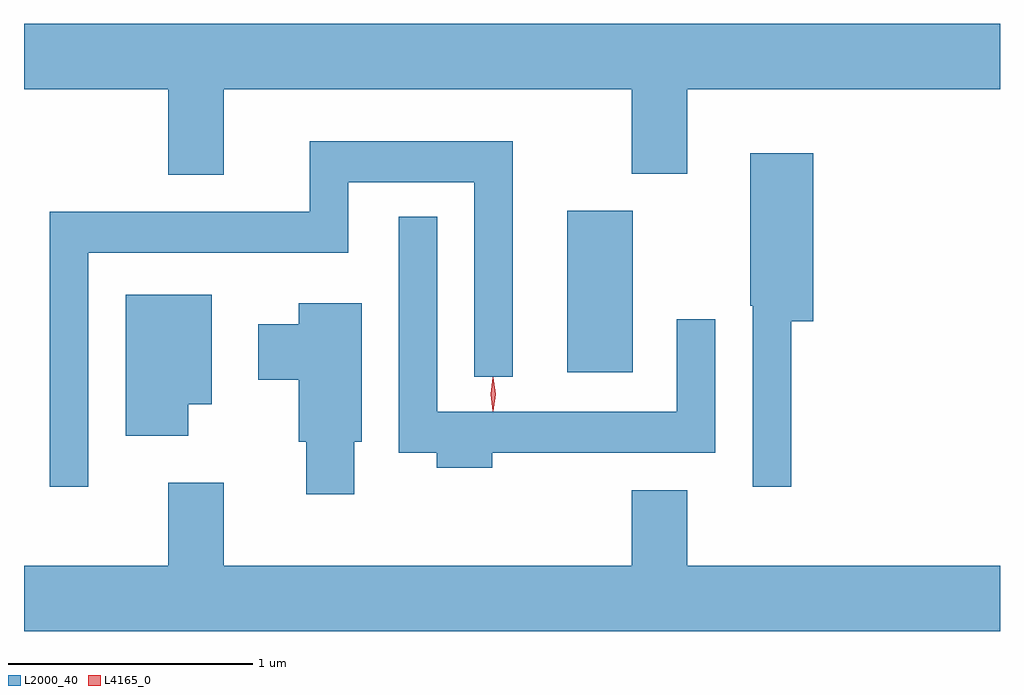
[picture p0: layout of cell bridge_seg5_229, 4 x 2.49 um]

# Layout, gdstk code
import gdstk
lib = gdstk.Library(unit=1e-6, precision=1e-09)
def R(c, l, rs):  # rectangles x0, y0, x1, y1
    for r in rs: c.add(gdstk.rectangle(r[:2], r[2:], *l))
def P(c, l, *ps):  # polygons
    for p in ps: c.add(gdstk.Polygon(p, *l))
L2000_40 = (2000, 40)
L4165_0 = (4165, 0)

bridge_seg5_229 = lib.new_cell('bridge_seg5_229')
R(bridge_seg5_229, L2000_40, [(1250.146,1415.676,1250.414,1416.339)])
P(bridge_seg5_229, L2000_40, [(1248.739,1416.836),(1250.411,1416.836),(1250.411,1416.491),(1250.639,1416.491),(1250.639,1416.836),(1251.92,1416.836),(1251.92,1417.104),(1247.92,1417.104),(1247.92,1416.836),(1248.511,1416.836),(1248.511,1416.486),(1248.739,1416.486)],
  [(1248.184,1416.166),(1249.249,1416.166),(1249.249,1416.456),(1249.766,1416.456),(1249.766,1415.658),(1249.924,1415.658),(1249.924,1416.624),(1249.091,1416.624),(1249.091,1416.334),(1248.026,1416.334),(1248.026,1415.208),(1248.184,1415.208)],
  [(1251.064,1415.886),(1251.154,1415.886),(1251.154,1416.574),(1250.896,1416.574),(1250.896,1415.95),(1250.906,1415.95),(1250.906,1415.208),(1251.064,1415.208)],
  [(1249.839,1415.346),(1250.754,1415.346),(1250.754,1415.893),(1250.596,1415.893),(1250.596,1415.514),(1249.614,1415.514),(1249.614,1416.313),(1249.456,1416.313),(1249.456,1415.346),(1249.611,1415.346),(1249.611,1415.286),(1249.839,1415.286)],
  [(1248.594,1415.546),(1248.689,1415.546),(1248.689,1415.994),(1248.336,1415.994),(1248.336,1415.416),(1248.594,1415.416)],
  [(1249.274,1415.391),(1249.304,1415.391),(1249.304,1415.959),(1249.046,1415.959),(1249.046,1415.874),(1248.881,1415.874),(1248.881,1415.646),(1249.046,1415.646),(1249.046,1415.391),(1249.076,1415.391),(1249.076,1415.176),(1249.274,1415.176)],
  [(1251.92,1414.884),(1250.639,1414.884),(1250.639,1415.194),(1250.411,1415.194),(1250.411,1414.884),(1248.739,1414.884),(1248.739,1415.224),(1248.511,1415.224),(1248.511,1414.884),(1247.92,1414.884),(1247.92,1414.616),(1251.92,1414.616)])
P(bridge_seg5_229, L4165_0, [(1249.842,1415.517),(1249.833,1415.587),(1249.842,1415.656),(1249.843,1415.656),(1249.843,1415.656),(1249.853,1415.587),(1249.843,1415.517),(1249.843,1415.517)])

lib.write_gds('bridge_seg5_229.gds')
